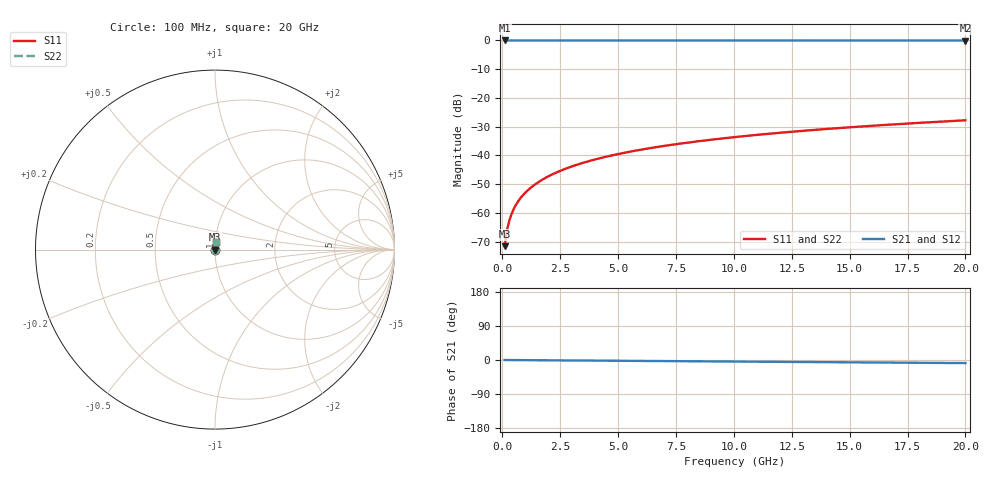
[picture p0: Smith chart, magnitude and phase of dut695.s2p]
! Touchstone file exported from HFSS 2026.1.0
!  File:  C:/ffzhzh/LocalFiles/Ansys_Project_Files/temp_train_TSV_695_1783027733_51716.aedt
!  Generated:  05:30:51 AM Jul  3, 2026
!  Design:  TSV
!  Project:  temp_train_TSV_695_1783027733_51716
! Variables:
!  h_bsmrdl = 2um
!  h_ox = 20um
!  h_rdl = 5um
!  h_sub = 72.19um
!  h_tmrdl = 5um
!  h_tsv = 72.19um
!  h_via = 3um
!  l_bsmrdl = 300um
!  l_sub = 420.9um
!  l_tmrdl = 200um
!  m_sub = 200um
!  pitch = 59.54um
!  r_tsv = 10.45um
!  s_tmrdl = 10um
!  w_bsmrdl = 18um
!  w_sub = 500um
!  w_tmrdl = 12um
!  x_tsv_center1 = 206um
!  x_tsv_center2 = 524um
!  x_tsv_center3 = 736um
!  x_tsv_center4 = 1054um
!  x_tsv_center5 = 1266um
!  x_tsv_center6 = 1584um
# GHz S MA R 50.000000
! Terminal data exported
! Port[1] = TSV1_1_T1
! Port[2] = TSV1_1_T2
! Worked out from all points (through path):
!   200 points, 100 MHz to 20 GHz, reference 50 ohm
!   highest |S21| = 0.00 dB at 100 MHz (marker M1); lowest = 0.0 dB at 20 GHz (marker M2)
!   group delay of S21, straight-line fit = 1.13 ps
!   lowest |S11| = -71.5 dB at 100 MHz (marker M3), VSWR 1.00, Z = 50 + j0.0242 ohm
!   |S11| at or under -10 dB: start of sweep to end of sweep
!   |S22| runs from -71.5 to -27.8 dB; largest |S21 - S12| = 4e-15
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0.1  0.0002645 66.0  0.9999 -0.0  0.9999 -0.0  0.0002645 66.0
! Gamma 0 0 0 0
! Port Impedance 50 0 50 0
0.2  0.0004954 76.2  0.9999 -0.1  0.9999 -0.1  0.0004954 76.2
0.3  0.0007292 79.5  0.9999 -0.1  0.9999 -0.1  0.0007292 79.5
0.4  0.00096 80.9  0.9999 -0.2  0.9999 -0.2  0.00096 80.9
0.5  0.001187 81.6  0.9998 -0.2  0.9998 -0.2  0.001187 81.6
0.6  0.001409 82.0  0.9998 -0.3  0.9998 -0.3  0.001409 82.0
0.7  0.001628 82.3  0.9998 -0.3  0.9998 -0.3  0.001628 82.3
0.9  0.002058 82.8  0.9998 -0.4  0.9998 -0.4  0.002058 82.8
1.1  0.00248 83.2  0.9997 -0.5  0.9997 -0.5  0.00248 83.2
1.3  0.002899 83.6  0.9997 -0.5  0.9997 -0.5  0.002899 83.6
1.6  0.003525 84.0  0.9997 -0.7  0.9997 -0.7  0.003525 84.0
1.9  0.00415 84.4  0.9996 -0.8  0.9996 -0.8  0.00415 84.4
2.6  0.005607 84.8  0.9996 -1.1  0.9996 -1.1  0.005607 84.8
3.5  0.007477 85.1  0.9995 -1.4  0.9995 -1.4  0.007477 85.1
4.2  0.008926 85.1  0.9995 -1.7  0.9995 -1.7  0.008926 85.1
5  0.01058 85.0  0.9994 -2.1  0.9994 -2.1  0.01058 85.0
6.8  0.01427 84.6  0.9993 -2.8  0.9993 -2.8  0.01427 84.6
8.3  0.01733 84.3  0.9991 -3.4  0.9991 -3.4  0.01733 84.3
10.1  0.02098 83.7  0.999 -4.1  0.999 -4.1  0.02098 83.7
13.4  0.02766 82.7  0.9987 -5.5  0.9987 -5.5  0.02766 82.7
16.7  0.03429 81.5  0.9984 -6.8  0.9984 -6.8  0.03429 81.5
20  0.04088 80.3  0.9981 -8.1  0.9981 -8.1  0.04088 80.3
